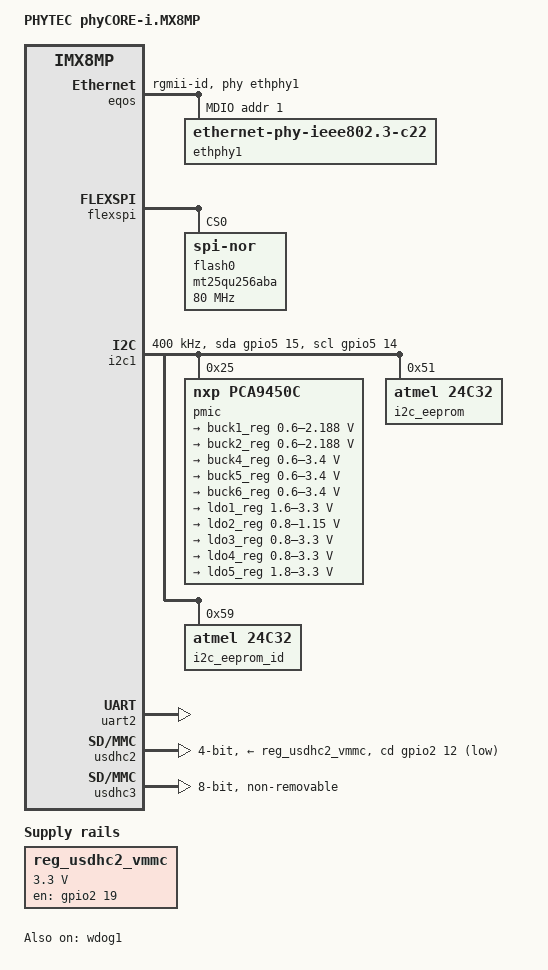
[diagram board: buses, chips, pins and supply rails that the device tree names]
// SPDX-License-Identifier: GPL-2.0-or-later
/*
 * Copyright (C) 2020 PHYTEC Messtechnik GmbH
 * Author: Teresa Remmet <t.remmet@phytec.de>
 */

/dts-v1/;

#include <dt-bindings/net/ti-dp83867.h>
#include "imx8mp.dtsi"

/ {
	model = "PHYTEC phyCORE-i.MX8MP";
	compatible = "phytec,imx8mp-phycore-som", "fsl,imx8mp";

	chosen {
		stdout-path = &uart2;
	};

	reg_usdhc2_vmmc: regulator-usdhc2 {
		compatible = "regulator-fixed";
		pinctrl-names = "default";
		pinctrl-0 = <&pinctrl_reg_usdhc2_vmmc>;
		regulator-name = "VSD_3V3";
		regulator-min-microvolt = <3300000>;
		regulator-max-microvolt = <3300000>;
		gpio = <&gpio2 19 GPIO_ACTIVE_HIGH>;
		enable-active-high;
		startup-delay-us = <100>;
		off-on-delay-us = <12000>;
	};
};

&eqos {
	compatible = "fsl,imx-eqos";
	pinctrl-names = "default";
	pinctrl-0 = <&pinctrl_eqos>;
	phy-mode = "rgmii-id";
	phy-handle = <&ethphy1>;
	/delete-property/ assigned-clocks;
	/delete-property/ assigned-clock-parents;
	/delete-property/ assigned-clock-rates;
	status = "okay";

	mdio {
		compatible = "snps,dwmac-mdio";
		#address-cells = <1>;
		#size-cells = <0>;

		ethphy1: ethernet-phy@1 {
			compatible = "ethernet-phy-ieee802.3-c22";
			reg = <0x1>;
			ti,rx-internal-delay = <DP83867_RGMIIDCTL_1_50_NS>;
			ti,tx-internal-delay = <DP83867_RGMIIDCTL_1_50_NS>;
			ti,fifo-depth = <DP83867_PHYCR_FIFO_DEPTH_4_B_NIB>;
			ti,clk-output-sel = <DP83867_CLK_O_SEL_OFF>;
			enet-phy-lane-no-swap;
		};
	};
};

&fec {
	pinctrl-names = "default";
	pinctrl-0 = <&pinctrl_fec>;
	phy-mode = "rgmii-id";
	phy-handle = <&ethphy0>;
	status = "disabled";

	mdio {
		#address-cells = <1>;
		#size-cells = <0>;

		ethphy0: ethernet-phy@0 {
			compatible = "ethernet-phy-ieee802.3-c22";
			reg = <0x0>;
			ti,rx-internal-delay = <DP83867_RGMIIDCTL_2_00_NS>;
			ti,tx-internal-delay = <DP83867_RGMIIDCTL_2_00_NS>;
			ti,fifo-depth = <DP83867_PHYCR_FIFO_DEPTH_4_B_NIB>;
			ti,clk-output-sel = <DP83867_CLK_O_SEL_OFF>;
			enet-phy-lane-no-swap;
		};
	};
};

&flexspi {
	pinctrl-names = "default";
	pinctrl-0 = <&pinctrl_flexspi0>;
	status = "okay";

	flash0: mt25qu256aba@0 {
		reg = <0>;
		#address-cells = <1>;
		#size-cells = <1>;
		compatible = "jedec,spi-nor";
		spi-max-frequency = <80000000>;
		spi-tx-bus-width = <4>;
		spi-rx-bus-width = <4>;
	};
};

&i2c1 {
	clock-frequency = <400000>;
	pinctrl-names = "default", "gpio";
	pinctrl-0 = <&pinctrl_i2c1>;
	pinctrl-1 = <&pinctrl_i2c1_gpio>;
	scl-gpios = <&gpio5 14 GPIO_ACTIVE_HIGH>;
	sda-gpios = <&gpio5 15 GPIO_ACTIVE_HIGH>;
	status = "okay";

	pmic: pca9450@25 {
		reg = <0x25>;
		compatible = "nxp,pca9450c";

		regulators {
			#address-cells = <1>;
			#size-cells = <0>;

			buck1_reg: regulator@0 {
				reg = <0>;
				regulator-compatible = "buck1";
				regulator-min-microvolt = <600000>;
				regulator-max-microvolt = <2187500>;
				regulator-boot-on;
				regulator-always-on;
				regulator-ramp-delay = <3125>;
			};

			buck2_reg: regulator@1 {
				reg = <1>;
				regulator-compatible = "buck2";
				regulator-min-microvolt = <600000>;
				regulator-max-microvolt = <2187500>;
				regulator-boot-on;
				regulator-always-on;
				regulator-ramp-delay = <3125>;
			};

			buck4_reg: regulator@3 {
				reg = <3>;
				regulator-compatible = "buck4";
				regulator-min-microvolt = <600000>;
				regulator-max-microvolt = <3400000>;
				regulator-boot-on;
				regulator-always-on;
			};

			buck5_reg: regulator@4 {
				reg = <4>;
				regulator-compatible = "buck5";
				regulator-min-microvolt = <600000>;
				regulator-max-microvolt = <3400000>;
				regulator-boot-on;
				regulator-always-on;
			};

			buck6_reg: regulator@5 {
				reg = <5>;
				regulator-compatible = "buck6";
				regulator-min-microvolt = <600000>;
				regulator-max-microvolt = <3400000>;
				regulator-boot-on;
				regulator-always-on;
			};

			ldo1_reg: regulator@6 {
				reg = <6>;
				regulator-compatible = "ldo1";
				regulator-min-microvolt = <1600000>;
				regulator-max-microvolt = <3300000>;
				regulator-boot-on;
				regulator-always-on;
			};

			ldo2_reg: regulator@7 {
				reg = <7>;
				regulator-compatible = "ldo2";
				regulator-min-microvolt = <800000>;
				regulator-max-microvolt = <1150000>;
				regulator-boot-on;
				regulator-always-on;
			};

			ldo3_reg: regulator@8 {
				reg = <8>;
				regulator-compatible = "ldo3";
				regulator-min-microvolt = <800000>;
				regulator-max-microvolt = <3300000>;
				regulator-boot-on;
				regulator-always-on;
			};

			ldo4_reg: regulator@9 {
				reg = <9>;
				regulator-compatible = "ldo4";
				regulator-min-microvolt = <800000>;
				regulator-max-microvolt = <3300000>;
				regulator-boot-on;
				regulator-always-on;
			};

			ldo5_reg: regulator@10 {
				reg = <10>;
				regulator-compatible = "ldo5";
				regulator-min-microvolt = <1800000>;
				regulator-max-microvolt = <3300000>;
			};
		};
	};

	/* M24C32 */
	i2c_eeprom: eeprom@51 {
		compatible = "atmel,24c32";
		reg = <0x51>;
		u-boot,i2c-offset-len = <2>;
	};

	/* M24C32 Identification page */
	i2c_eeprom_id: eeprom@59 {
		compatible = "atmel,24c32";
		reg = <0x59>;
		u-boot,i2c-offset-len = <2>;
	};
};

/* debug console */
&uart2 {
	pinctrl-names = "default";
	pinctrl-0 = <&pinctrl_uart2>;
	status = "okay";
};

&usdhc2 {
	pinctrl-names = "default", "state_100mhz", "state_200mhz";
	pinctrl-0 = <&pinctrl_usdhc2>, <&pinctrl_usdhc2_gpio>;
	pinctrl-1 = <&pinctrl_usdhc2_100mhz>, <&pinctrl_usdhc2_gpio>;
	pinctrl-2 = <&pinctrl_usdhc2_200mhz>, <&pinctrl_usdhc2_gpio>;
	cd-gpios = <&gpio2 12 GPIO_ACTIVE_LOW>;
	vmmc-supply = <&reg_usdhc2_vmmc>;
	bus-width = <4>;
	status = "okay";
};

&usdhc3 {
	pinctrl-names = "default", "state_100mhz", "state_200mhz";
	pinctrl-0 = <&pinctrl_usdhc3>;
	pinctrl-1 = <&pinctrl_usdhc3_100mhz>;
	pinctrl-2 = <&pinctrl_usdhc3_200mhz>;
	bus-width = <8>;
	non-removable;
	status = "okay";
};

&wdog1 {
	pinctrl-names = "default";
	pinctrl-0 = <&pinctrl_wdog>;
	fsl,ext-reset-output;
	status = "okay";
};

&iomuxc {
	pinctrl-names = "default";

	pinctrl_eqos: eqosgrp {
		fsl,pins = <
			MX8MP_IOMUXC_ENET_MDC__ENET_QOS_MDC		0x3
			MX8MP_IOMUXC_ENET_MDIO__ENET_QOS_MDIO		0x3
			MX8MP_IOMUXC_ENET_RD0__ENET_QOS_RGMII_RD0	0x91
			MX8MP_IOMUXC_ENET_RD1__ENET_QOS_RGMII_RD1	0x91
			MX8MP_IOMUXC_ENET_RD2__ENET_QOS_RGMII_RD2	0x91
			MX8MP_IOMUXC_ENET_RD3__ENET_QOS_RGMII_RD3	0x91
			MX8MP_IOMUXC_ENET_RXC__CCM_ENET_QOS_CLOCK_GENERATE_RX_CLK 0x91
			MX8MP_IOMUXC_ENET_RX_CTL__ENET_QOS_RGMII_RX_CTL 0x91
			MX8MP_IOMUXC_ENET_TD0__ENET_QOS_RGMII_TD0	0x1f
			MX8MP_IOMUXC_ENET_TD1__ENET_QOS_RGMII_TD1	0x1f
			MX8MP_IOMUXC_ENET_TD2__ENET_QOS_RGMII_TD2	0x1f
			MX8MP_IOMUXC_ENET_TD3__ENET_QOS_RGMII_TD3	0x1f
			MX8MP_IOMUXC_ENET_TX_CTL__ENET_QOS_RGMII_TX_CTL	0x1f
			MX8MP_IOMUXC_ENET_TXC__CCM_ENET_QOS_CLOCK_GENERATE_TX_CLK 0x1f
		>;
	};

	pinctrl_fec: fecgrp {
		fsl,pins = <
			MX8MP_IOMUXC_SAI1_RXD2__ENET1_MDC		0x3
			MX8MP_IOMUXC_SAI1_RXD3__ENET1_MDIO		0x3
			MX8MP_IOMUXC_SAI1_RXD4__ENET1_RGMII_RD0		0x91
			MX8MP_IOMUXC_SAI1_RXD5__ENET1_RGMII_RD1		0x91
			MX8MP_IOMUXC_SAI1_RXD6__ENET1_RGMII_RD2		0x91
			MX8MP_IOMUXC_SAI1_RXD7__ENET1_RGMII_RD3		0x91
			MX8MP_IOMUXC_SAI1_TXC__ENET1_RGMII_RXC		0x91
			MX8MP_IOMUXC_SAI1_TXFS__ENET1_RGMII_RX_CTL	0x91
			MX8MP_IOMUXC_SAI1_TXD0__ENET1_RGMII_TD0		0x1f
			MX8MP_IOMUXC_SAI1_TXD1__ENET1_RGMII_TD1		0x1f
			MX8MP_IOMUXC_SAI1_TXD2__ENET1_RGMII_TD2		0x1f
			MX8MP_IOMUXC_SAI1_TXD3__ENET1_RGMII_TD3		0x1f
			MX8MP_IOMUXC_SAI1_TXD4__ENET1_RGMII_TX_CTL	0x1f
			MX8MP_IOMUXC_SAI1_TXD5__ENET1_RGMII_TXC		0x1f
		>;
	};

	pinctrl_flexspi0: flexspi0grp {
		fsl,pins = <
			MX8MP_IOMUXC_NAND_ALE__FLEXSPI_A_SCLK		0x1c2
			MX8MP_IOMUXC_NAND_CE0_B__FLEXSPI_A_SS0_B	0x82
			MX8MP_IOMUXC_NAND_DATA00__FLEXSPI_A_DATA00	0x82
			MX8MP_IOMUXC_NAND_DATA01__FLEXSPI_A_DATA01	0x82
			MX8MP_IOMUXC_NAND_DATA02__FLEXSPI_A_DATA02	0x82
			MX8MP_IOMUXC_NAND_DATA03__FLEXSPI_A_DATA03	0x82
		>;
	};

	pinctrl_i2c1: i2c1grp {
		fsl,pins = <
			MX8MP_IOMUXC_I2C1_SCL__I2C1_SCL		0x400001c3
			MX8MP_IOMUXC_I2C1_SDA__I2C1_SDA		0x400001c3
		>;
	};

	pinctrl_i2c1_gpio: i2c1grp-gpio {
		fsl,pins = <
			MX8MP_IOMUXC_I2C1_SCL__GPIO5_IO14	0x1c3
			MX8MP_IOMUXC_I2C1_SDA__GPIO5_IO15	0x1c3
		>;
	};

	pinctrl_pmic: pmicirq {
		fsl,pins = <
			MX8MP_IOMUXC_GPIO1_IO03__GPIO1_IO03	0x41
		>;
	};

	pinctrl_reg_usdhc2_vmmc: regusdhc2vmmc {
		fsl,pins = <
			MX8MP_IOMUXC_SD2_RESET_B__GPIO2_IO19	0x41
		>;
	};

	pinctrl_uart2: uart2grp {
		fsl,pins = <
			MX8MP_IOMUXC_UART2_RXD__UART2_DCE_RX	0x49
			MX8MP_IOMUXC_UART2_TXD__UART2_DCE_TX	0x49
		>;
	};

	pinctrl_usdhc3: usdhc3grp {
		fsl,pins = <
			MX8MP_IOMUXC_NAND_WE_B__USDHC3_CLK	0x190
			MX8MP_IOMUXC_NAND_WP_B__USDHC3_CMD	0x1d0
			MX8MP_IOMUXC_NAND_DATA04__USDHC3_DATA0	0x1d0
			MX8MP_IOMUXC_NAND_DATA05__USDHC3_DATA1	0x1d0
			MX8MP_IOMUXC_NAND_DATA06__USDHC3_DATA2	0x1d0
			MX8MP_IOMUXC_NAND_DATA07__USDHC3_DATA3	0x1d0
			MX8MP_IOMUXC_NAND_RE_B__USDHC3_DATA4	0x1d0
			MX8MP_IOMUXC_NAND_CE2_B__USDHC3_DATA5	0x1d0
			MX8MP_IOMUXC_NAND_CE3_B__USDHC3_DATA6	0x1d0
			MX8MP_IOMUXC_NAND_CLE__USDHC3_DATA7	0x1d0
			MX8MP_IOMUXC_NAND_CE1_B__USDHC3_STROBE	0x190
		>;
	};

	pinctrl_usdhc3_100mhz: usdhc3grp-100mhz {
		fsl,pins = <
			MX8MP_IOMUXC_NAND_WE_B__USDHC3_CLK	0x194
			MX8MP_IOMUXC_NAND_WP_B__USDHC3_CMD	0x1d4
			MX8MP_IOMUXC_NAND_DATA04__USDHC3_DATA0	0x1d4
			MX8MP_IOMUXC_NAND_DATA05__USDHC3_DATA1	0x1d4
			MX8MP_IOMUXC_NAND_DATA06__USDHC3_DATA2	0x1d4
			MX8MP_IOMUXC_NAND_DATA07__USDHC3_DATA3	0x1d4
			MX8MP_IOMUXC_NAND_RE_B__USDHC3_DATA4	0x1d4
			MX8MP_IOMUXC_NAND_CE2_B__USDHC3_DATA5	0x1d4
			MX8MP_IOMUXC_NAND_CE3_B__USDHC3_DATA6	0x1d4
			MX8MP_IOMUXC_NAND_CLE__USDHC3_DATA7	0x1d4
			MX8MP_IOMUXC_NAND_CE1_B__USDHC3_STROBE	0x194
		>;
	};

	pinctrl_usdhc3_200mhz: usdhc3grp-200mhz {
		fsl,pins = <
			MX8MP_IOMUXC_NAND_WE_B__USDHC3_CLK	0x196
			MX8MP_IOMUXC_NAND_WP_B__USDHC3_CMD	0x1d6
			MX8MP_IOMUXC_NAND_DATA04__USDHC3_DATA0	0x1d6
			MX8MP_IOMUXC_NAND_DATA05__USDHC3_DATA1	0x1d6
			MX8MP_IOMUXC_NAND_DATA06__USDHC3_DATA2	0x1d6
			MX8MP_IOMUXC_NAND_DATA07__USDHC3_DATA3	0x1d6
			MX8MP_IOMUXC_NAND_RE_B__USDHC3_DATA4	0x1d6
			MX8MP_IOMUXC_NAND_CE2_B__USDHC3_DATA5	0x1d6
			MX8MP_IOMUXC_NAND_CE3_B__USDHC3_DATA6	0x1d6
			MX8MP_IOMUXC_NAND_CLE__USDHC3_DATA7	0x1d6
			MX8MP_IOMUXC_NAND_CE1_B__USDHC3_STROBE	0x196
		>;
	};

	pinctrl_usdhc2: usdhc2grp {
		fsl,pins = <
			MX8MP_IOMUXC_SD2_CLK__USDHC2_CLK	0x190
			MX8MP_IOMUXC_SD2_CMD__USDHC2_CMD	0x1d0
			MX8MP_IOMUXC_SD2_DATA0__USDHC2_DATA0	0x1d0
			MX8MP_IOMUXC_SD2_DATA1__USDHC2_DATA1	0x1d0
			MX8MP_IOMUXC_SD2_DATA2__USDHC2_DATA2	0x1d0
			MX8MP_IOMUXC_SD2_DATA3__USDHC2_DATA3	0x1d0
			MX8MP_IOMUXC_GPIO1_IO04__USDHC2_VSELECT	0xc1
		>;
	};

	pinctrl_usdhc2_100mhz: usdhc2grp-100mhz {
		fsl,pins = <
			MX8MP_IOMUXC_SD2_CLK__USDHC2_CLK	0x194
			MX8MP_IOMUXC_SD2_CMD__USDHC2_CMD	0x1d4
			MX8MP_IOMUXC_SD2_DATA0__USDHC2_DATA0	0x1d4
			MX8MP_IOMUXC_SD2_DATA1__USDHC2_DATA1	0x1d4
			MX8MP_IOMUXC_SD2_DATA2__USDHC2_DATA2	0x1d4
			MX8MP_IOMUXC_SD2_DATA3__USDHC2_DATA3	0x1d4
			MX8MP_IOMUXC_GPIO1_IO04__USDHC2_VSELECT 0xc1
		>;
	};

	pinctrl_usdhc2_200mhz: usdhc2grp-200mhz {
		fsl,pins = <
			MX8MP_IOMUXC_SD2_CLK__USDHC2_CLK	0x196
			MX8MP_IOMUXC_SD2_CMD__USDHC2_CMD	0x1d6
			MX8MP_IOMUXC_SD2_DATA0__USDHC2_DATA0	0x1d6
			MX8MP_IOMUXC_SD2_DATA1__USDHC2_DATA1	0x1d6
			MX8MP_IOMUXC_SD2_DATA2__USDHC2_DATA2	0x1d6
			MX8MP_IOMUXC_SD2_DATA3__USDHC2_DATA3	0x1d6
			MX8MP_IOMUXC_GPIO1_IO04__USDHC2_VSELECT 0xc1
		>;
	};

	pinctrl_usdhc2_gpio: usdhc2grp-gpio {
		fsl,pins = <
			MX8MP_IOMUXC_SD2_CD_B__GPIO2_IO12	0x1c4
		>;
	};

	pinctrl_wdog: wdoggrp {
		fsl,pins = <
			MX8MP_IOMUXC_GPIO1_IO02__WDOG1_WDOG_B	0xc6
		>;
	};
};
